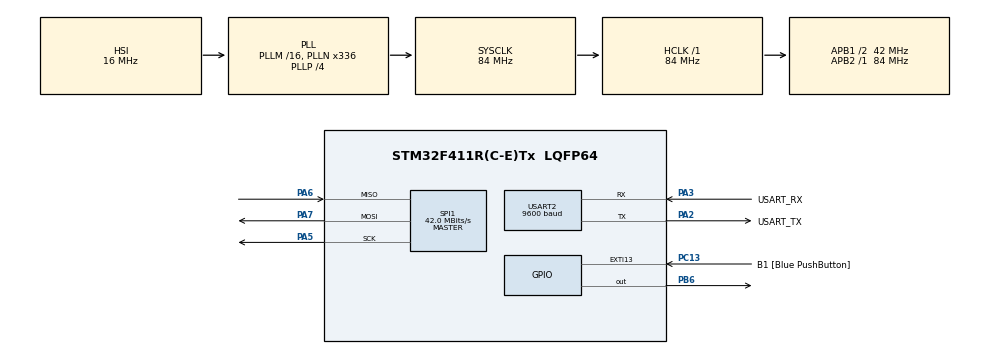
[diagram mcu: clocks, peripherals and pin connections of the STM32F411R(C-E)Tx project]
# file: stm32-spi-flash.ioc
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Mcu.Family=STM32F4
Mcu.Name=STM32F411R(C-E)Tx
Mcu.Package=LQFP64
NVIC.PriorityGroup=NVIC_PRIORITYGROUP_0
PA13.GPIO_Label=TMS
PA13.Signal=SYS_JTMS-SWDIO
PA14.GPIO_Label=TCK
PA14.Signal=SYS_JTCK-SWCLK
PA2.GPIO_Label=USART_TX
PA2.Mode=Asynchronous
PA2.Signal=USART2_TX
PA3.GPIO_Label=USART_RX
PA3.Mode=Asynchronous
PA3.Signal=USART2_RX
PA5.Mode=Full_Duplex_Master
PA5.Signal=SPI1_SCK
PA6.Mode=Full_Duplex_Master
PA6.Signal=SPI1_MISO
PA7.Mode=Full_Duplex_Master
PA7.Signal=SPI1_MOSI
PB3.GPIO_Label=SWO
PB3.Signal=SYS_JTDO-SWO
PB6.Signal=GPIO_Output
PC13-ANTI_TAMP.GPIO_Label=B1 [Blue PushButton]
PC13-ANTI_TAMP.GPIO_ModeDefaultEXTI=GPIO_MODE_IT_FALLING
PC13-ANTI_TAMP.Signal=GPXTI13
PC14-OSC32_IN.Signal=RCC_OSC32_IN
PC15-OSC32_OUT.Signal=RCC_OSC32_OUT
PH0\ -\ OSC_IN.Signal=RCC_OSC_IN
PH1\ -\ OSC_OUT.Signal=RCC_OSC_OUT
ProjectManager.HeapSize=0x200
ProjectManager.StackSize=0x400
ProjectManager.TargetToolchain=Makefile
RCC.48MHZClocksFreq_Value=84000000
RCC.AHBFreq_Value=84000000
RCC.APB1CLKDivider=RCC_HCLK_DIV2
RCC.APB1Freq_Value=42000000
RCC.APB1TimFreq_Value=84000000
RCC.APB2Freq_Value=84000000
RCC.APB2TimFreq_Value=84000000
RCC.CortexFreq_Value=84000000
RCC.FLatency-AdvancedSettings=FLASH_LATENCY_2
RCC.HCLKFreq_Value=84000000
RCC.HSE_VALUE=8000000
RCC.HSI_VALUE=16000000
RCC.LSE_VALUE=32768
RCC.PLLN=336
RCC.PLLP=RCC_PLLP_DIV4
RCC.SYSCLKFreq_VALUE=84000000
RCC.SYSCLKSource=RCC_SYSCLKSOURCE_PLLCLK
RCC.VCOOutputFreq_Value=336000000
SPI1.BaudRatePrescaler=SPI_BAUDRATEPRESCALER_2
SPI1.CalculateBaudRate=42.0 MBits/s
SPI1.Direction=SPI_DIRECTION_2LINES
SPI1.Mode=SPI_MODE_MASTER
SPI1.VirtualType=VM_MASTER
USART2.BaudRate=9600
USART2.VirtualMode=VM_ASYNC
board=NUCLEO-F411RE

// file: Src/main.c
#include "main.h"
#include "stm32f4xx_hal.h"

/* USER CODE BEGIN Includes */
/* vim: set ai et ts=4 sw=4: */
#include <string.h>
/* USER CODE END Includes */

SPI_HandleTypeDef hspi1;

UART_HandleTypeDef huart2;

/* USER CODE BEGIN PV */
/* Private variables ---------------------------------------------------------*/

/* USER CODE END PV */

void SystemClock_Config(void);
static void MX_GPIO_Init(void);
static void MX_SPI1_Init(void);
static void MX_USART2_UART_Init(void);

/* USER CODE BEGIN PFP */
/* Private function prototypes -----------------------------------------------*/

/* USER CODE END PFP */

/* USER CODE BEGIN 0 */

void init() {
    uint16_t pageAddr = 0x123;
    const char wmsg[] = "This is a test message";
    char rmsg[sizeof(wmsg)] = {0};
    HAL_StatusTypeDef res1, res2;

    // read the device id
    {
        uint8_t devid_cmd[1] = { 0x9F };
        uint8_t devid_res[5];

        HAL_GPIO_WritePin(GPIOB, GPIO_PIN_6, GPIO_PIN_RESET);
        res1 = HAL_SPI_Transmit(&hspi1, devid_cmd, sizeof(devid_cmd), HAL_MAX_DELAY);
        res2 = HAL_SPI_Receive(&hspi1, devid_res, sizeof(devid_res), HAL_MAX_DELAY);
        HAL_GPIO_WritePin(GPIOB, GPIO_PIN_6, GPIO_PIN_SET);

        if((res1 != HAL_OK) || (res2 != HAL_OK)) {
            char msg[256];
            snprintf(msg, sizeof(msg), "Error during getting the device id, res1 = %d, res2 = %d\r\n", res1, res2);
            HAL_UART_Transmit(&huart2, (uint8_t*)msg, strlen(msg), HAL_MAX_DELAY);
            return;
        }

        {
            char msg[256];
            snprintf(msg, sizeof(msg),
                "Manufacturer ID: 0x%02X\r\n"
                "Device ID (byte 1): 0x%02X\r\n"
                "Device ID (byte 2): 0x%02X\r\n"
                "Extended device information (EDI) string length: 0x%02X\r\n"
                "EDI byte 1: 0x%02X\r\n"
                "--------\r\n",
                devid_res[0], devid_res[1], devid_res[2], devid_res[3], devid_res[4]);
            HAL_UART_Transmit(&huart2, (uint8_t*)msg, strlen(msg), HAL_MAX_DELAY);
        }
    }

    // write test
    /* if(0) */ {
        uint8_t wcmd[4];
        // opcode
        wcmd[0] = 0x82; // 0x82 for buffer 1, 0x85 for buffer 2
        // for 512 bytes/page chip address is transfered in form:
        // 000AAAAA AAAAAAAa aaaaaaaa
        // wcmd[1] = (pageAddr >> 7) & 0x1F;
        // wcmd[2] = (pageAddr << 1) & 0xFE;
        // wcmd[3] = 0x00;

        // 00PPPPPP PPPPPPBB BBBBBBBB
        wcmd[1] = (pageAddr >> 6) & 0x3F;
        wcmd[2] = (pageAddr << 2) & 0xFC;
        wcmd[3] = 0x00;

        HAL_GPIO_WritePin(GPIOB, GPIO_PIN_6, GPIO_PIN_RESET);
        res1 = HAL_SPI_Transmit(&hspi1, wcmd, sizeof(wcmd), HAL_MAX_DELAY);
        res2 = HAL_SPI_Transmit(&hspi1, (uint8_t*)wmsg, sizeof(wmsg), HAL_MAX_DELAY);
        HAL_GPIO_WritePin(GPIOB, GPIO_PIN_6, GPIO_PIN_SET);

        if((res1 != HAL_OK) || (res2 != HAL_OK)) {
            char msg[256];
            snprintf(msg, sizeof(msg), "Error during writing the data, res1 = %d, res2 = %d\r\n", res1, res2);
            HAL_UART_Transmit(&huart2, (uint8_t*)msg, strlen(msg), HAL_MAX_DELAY);
            return;
        }
    }

    // wait until device is ready (using HAL_Delay is error-prone!)
    {
        uint32_t delta = HAL_GetTick();
        uint32_t cnt = 0;

        uint8_t status_cmd[1] = { 0xD7 };
        uint8_t status_res[2];
        HAL_GPIO_WritePin(GPIOB, GPIO_PIN_6, GPIO_PIN_RESET);
        HAL_SPI_Transmit(&hspi1, status_cmd, sizeof(status_cmd), HAL_MAX_DELAY);
        do {
            cnt++;
            res1 = HAL_SPI_Receive(&hspi1, status_res, sizeof(status_res), HAL_MAX_DELAY);
            if(res1 != HAL_OK)
                break;
        } while (! (status_res[0] & 0x80)); // check RDY flag

        HAL_GPIO_WritePin(GPIOB, GPIO_PIN_6, GPIO_PIN_SET);

        delta = HAL_GetTick() - delta;
        uint8_t protect = (status_res[0] >> 1) & 0x01;
        uint8_t page_size = (status_res[0]) & 0x01;
        uint8_t epe = (status_res[1] >> 5) & 0x01;
        uint8_t sle = (status_res[1] >> 3) & 0x01;
        char msg[256];
        snprintf(msg, sizeof(msg),
            "Await loop took %ld ms, %ld iterations\r\n"
            "Sector protection status: %s\r\n"
            "Page size: %d bytes\r\n"
            "Erase/program error: %s\r\n"
            "Sector lockdown command: %s\r\n"
            "--------\r\n",
            delta, cnt,
            protect ? "enabled" : "disabled",
            page_size ? 512 : 528,
            epe ? "ERROR!" : "no error",
            sle ? "enabled" : "disabled");
        HAL_UART_Transmit(&huart2, (uint8_t*)msg, strlen(msg), HAL_MAX_DELAY);
    }

    // read test
    {
        uint8_t rcmd[5];
        // opcode
        rcmd[0] = 0x0B; // Note: 0x1B is supported by Adesto chips, but not Atmel chips, so use 0x0B

        // for 512 bytes/page chip address is transfered in form:
        // rcmd[1] = (pageAddr >> 7) & 0x1F;
        // rcmd[2] = (pageAddr << 1) & 0xFE;
        // rcmd[3] = 0x00;

        // 00PPPPPP PPPPPPBB BBBBBBBB
        rcmd[1] = (pageAddr >> 6) & 0x3F;
        rcmd[2] = (pageAddr << 2) & 0xFC;
        rcmd[3] = 0x00;

        // one dummy byte
        rcmd[4] = 0x00;

        HAL_GPIO_WritePin(GPIOB, GPIO_PIN_6, GPIO_PIN_RESET);
        res1 = HAL_SPI_Transmit(&hspi1, rcmd, sizeof(rcmd), HAL_MAX_DELAY);
        res2 = HAL_SPI_Receive(&hspi1, (uint8_t*)rmsg, sizeof(rmsg), HAL_MAX_DELAY);
        HAL_GPIO_WritePin(GPIOB, GPIO_PIN_6, GPIO_PIN_SET);

        if((res1 != HAL_OK) || (res2 != HAL_OK)) {
            char msg[256];
            snprintf(msg, sizeof(msg), "Error during reading the data, res1 = %d, res2 = %d\r\n", res1, res2);
            HAL_UART_Transmit(&huart2, (uint8_t*)msg, strlen(msg), HAL_MAX_DELAY);
            return;
        }
    }

    if(memcmp(rmsg, wmsg, sizeof(rmsg)) == 0) {
        const char result[] = "Test passed!\r\n";
        HAL_UART_Transmit(&huart2, (uint8_t*)result, sizeof(result)-1,
                          HAL_MAX_DELAY);
    } else {
        char msg[256];
        snprintf(msg, sizeof(msg), "Test failed: wmsg = '%s', rmsg = '%s'\r\n", wmsg, rmsg);
        HAL_UART_Transmit(&huart2, (uint8_t*)msg, strlen(msg), HAL_MAX_DELAY);
    }
}

void loop() {
    HAL_Delay(100);
}

/* USER CODE END 0 */

int main(void)
{

  /* MCU Configuration----------------------------------------------------------*/

  /* Reset of all peripherals, Initializes the Flash interface and the Systick. */
  HAL_Init();

  /* Configure the system clock */
  SystemClock_Config();

  /* Initialize all configured peripherals */
  MX_GPIO_Init();
  MX_SPI1_Init();
  MX_USART2_UART_Init();

  /* Infinite loop */
  /* USER CODE BEGIN WHILE */
  init();
  while (1)
  {
    loop();
  /* USER CODE END WHILE */

  }

}

/** System Clock Configuration
*/
void SystemClock_Config(void)
{

  RCC_OscInitTypeDef RCC_OscInitStruct;
  RCC_ClkInitTypeDef RCC_ClkInitStruct;

    /**Configure the main internal regulator output voltage
    */
  __HAL_RCC_PWR_CLK_ENABLE();

  __HAL_PWR_VOLTAGESCALING_CONFIG(PWR_REGULATOR_VOLTAGE_SCALE1);

    /**Initializes the CPU, AHB and APB busses clocks
    */
  RCC_OscInitStruct.OscillatorType = RCC_OSCILLATORTYPE_HSI;
  RCC_OscInitStruct.HSIState = RCC_HSI_ON;
  RCC_OscInitStruct.HSICalibrationValue = 16;
  RCC_OscInitStruct.PLL.PLLState = RCC_PLL_ON;
  RCC_OscInitStruct.PLL.PLLSource = RCC_PLLSOURCE_HSI;
  RCC_OscInitStruct.PLL.PLLM = 16;
  RCC_OscInitStruct.PLL.PLLN = 336;
  RCC_OscInitStruct.PLL.PLLP = RCC_PLLP_DIV4;
  RCC_OscInitStruct.PLL.PLLQ = 4;
  if (HAL_RCC_OscConfig(&RCC_OscInitStruct) != HAL_OK)
  {
    _Error_Handler(__FILE__, __LINE__);
  }

    /**Initializes the CPU, AHB and APB busses clocks
    */
  RCC_ClkInitStruct.ClockType = RCC_CLOCKTYPE_HCLK|RCC_CLOCKTYPE_SYSCLK
                              |RCC_CLOCKTYPE_PCLK1|RCC_CLOCKTYPE_PCLK2;
  RCC_ClkInitStruct.SYSCLKSource = RCC_SYSCLKSOURCE_PLLCLK;
  RCC_ClkInitStruct.AHBCLKDivider = RCC_SYSCLK_DIV1;
  RCC_ClkInitStruct.APB1CLKDivider = RCC_HCLK_DIV2;
  RCC_ClkInitStruct.APB2CLKDivider = RCC_HCLK_DIV1;

  if (HAL_RCC_ClockConfig(&RCC_ClkInitStruct, FLASH_LATENCY_2) != HAL_OK)
  {
    _Error_Handler(__FILE__, __LINE__);
  }

    /**Configure the Systick interrupt time
    */
  HAL_SYSTICK_Config(HAL_RCC_GetHCLKFreq()/1000);

    /**Configure the Systick
    */
  HAL_SYSTICK_CLKSourceConfig(SYSTICK_CLKSOURCE_HCLK);

  /* SysTick_IRQn interrupt configuration */
  HAL_NVIC_SetPriority(SysTick_IRQn, 0, 0);
}

/* SPI1 init function */
static void MX_SPI1_Init(void)
{

  /* SPI1 parameter configuration*/
  hspi1.Instance = SPI1;
  hspi1.Init.Mode = SPI_MODE_MASTER;
  hspi1.Init.Direction = SPI_DIRECTION_2LINES;
  hspi1.Init.DataSize = SPI_DATASIZE_8BIT;
  hspi1.Init.CLKPolarity = SPI_POLARITY_LOW;
  hspi1.Init.CLKPhase = SPI_PHASE_1EDGE;
  hspi1.Init.NSS = SPI_NSS_SOFT;
  hspi1.Init.BaudRatePrescaler = SPI_BAUDRATEPRESCALER_2;
  hspi1.Init.FirstBit = SPI_FIRSTBIT_MSB;
  hspi1.Init.TIMode = SPI_TIMODE_DISABLE;
  hspi1.Init.CRCCalculation = SPI_CRCCALCULATION_DISABLE;
  hspi1.Init.CRCPolynomial = 10;
  if (HAL_SPI_Init(&hspi1) != HAL_OK)
  {
    _Error_Handler(__FILE__, __LINE__);
  }

}

/* USART2 init function */
static void MX_USART2_UART_Init(void)
{

  huart2.Instance = USART2;
  huart2.Init.BaudRate = 9600;
  huart2.Init.WordLength = UART_WORDLENGTH_8B;
  huart2.Init.StopBits = UART_STOPBITS_1;
  huart2.Init.Parity = UART_PARITY_NONE;
  huart2.Init.Mode = UART_MODE_TX_RX;
  huart2.Init.HwFlowCtl = UART_HWCONTROL_NONE;
  huart2.Init.OverSampling = UART_OVERSAMPLING_16;
  if (HAL_UART_Init(&huart2) != HAL_OK)
  {
    _Error_Handler(__FILE__, __LINE__);
  }

}

/** Configure pins as
        * Analog
        * Input
        * Output
        * EVENT_OUT
        * EXTI
*/
static void MX_GPIO_Init(void)
{

  GPIO_InitTypeDef GPIO_InitStruct;

  /* GPIO Ports Clock Enable */
  __HAL_RCC_GPIOC_CLK_ENABLE();
  __HAL_RCC_GPIOH_CLK_ENABLE();
  __HAL_RCC_GPIOA_CLK_ENABLE();
  __HAL_RCC_GPIOB_CLK_ENABLE();

  /*Configure GPIO pin Output Level */
  HAL_GPIO_WritePin(GPIOB, GPIO_PIN_6, GPIO_PIN_RESET);

  /*Configure GPIO pin : B1_Pin */
  GPIO_InitStruct.Pin = B1_Pin;
  GPIO_InitStruct.Mode = GPIO_MODE_IT_FALLING;
  GPIO_InitStruct.Pull = GPIO_NOPULL;
  HAL_GPIO_Init(B1_GPIO_Port, &GPIO_InitStruct);

  /*Configure GPIO pin : PB6 */
  GPIO_InitStruct.Pin = GPIO_PIN_6;
  GPIO_InitStruct.Mode = GPIO_MODE_OUTPUT_PP;
  GPIO_InitStruct.Pull = GPIO_NOPULL;
  GPIO_InitStruct.Speed = GPIO_SPEED_FREQ_LOW;
  HAL_GPIO_Init(GPIOB, &GPIO_InitStruct);

}

void _Error_Handler(char * file, int line)
{
  while(1)
  {
  }
}

/************************ (C) COPYRIGHT STMicroelectronics *****END OF FILE****/
